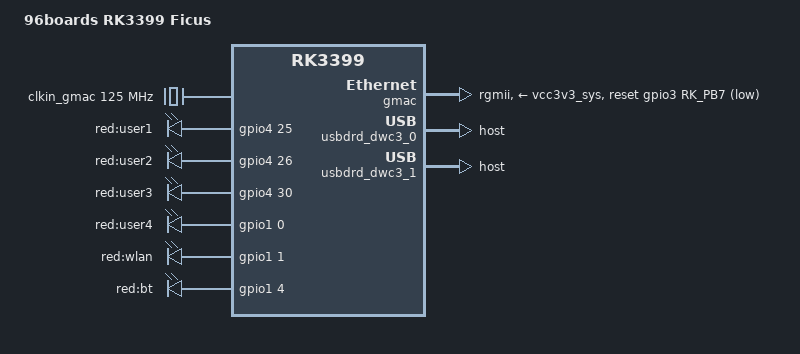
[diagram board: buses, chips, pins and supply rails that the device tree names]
// SPDX-License-Identifier: (GPL-2.0+ OR MIT)
/*
 * Copyright (c) 2018 Collabora Ltd.
 * Copyright (c) 2018 Fuzhou Rockchip Electronics Co., Ltd.
 *
 * Schematics available at https://dl.vamrs.com/products/ficus/docs/hw
 */

/dts-v1/;
#include "rk3399-rock960.dtsi"

/ {
	model = "96boards RK3399 Ficus";
	compatible = "vamrs,ficus", "rockchip,rk3399";

	chosen {
		stdout-path = "serial2:1500000n8";
	};

	clkin_gmac: external-gmac-clock {
		compatible = "fixed-clock";
		clock-frequency = <125000000>;
		clock-output-names = "clkin_gmac";
		#clock-cells = <0>;
	};

	leds {
		compatible = "gpio-leds";
		pinctrl-names = "default";
		pinctrl-0 = <&user_led1>, <&user_led2>, <&user_led3>,
			    <&user_led4>, <&wlan_led>, <&bt_led>;

		user_led1 {
			label = "red:user1";
			gpios = <&gpio4 25 0>;
			linux,default-trigger = "heartbeat";
		};

		user_led2 {
			label = "red:user2";
			gpios = <&gpio4 26 0>;
			linux,default-trigger = "mmc0";
		};

		user_led3 {
			label = "red:user3";
			gpios = <&gpio4 30 0>;
			linux,default-trigger = "mmc1";
		};

		user_led4 {
			label = "red:user4";
			gpios = <&gpio1 0 0>;
			panic-indicator;
			linux,default-trigger = "none";
		};

		wlan_active_led {
			label = "red:wlan";
			gpios = <&gpio1 1 0>;
			linux,default-trigger = "phy0tx";
			default-state = "off";
		};

		bt_active_led {
			label = "red:bt";
			gpios = <&gpio1 4 0>;
			linux,default-trigger = "hci0-power";
			default-state = "off";
		};
	};
};

&gmac {
	assigned-clocks = <&cru SCLK_RMII_SRC>;
	assigned-clock-parents = <&clkin_gmac>;
	clock_in_out = "input";
	phy-supply = <&vcc3v3_sys>;
	phy-mode = "rgmii";
	pinctrl-names = "default";
	pinctrl-0 = <&rgmii_pins>;
	snps,reset-gpio = <&gpio3 RK_PB7 GPIO_ACTIVE_LOW>;
	snps,reset-active-low;
	snps,reset-delays-us = <0 10000 50000>;
	tx_delay = <0x28>;
	rx_delay = <0x11>;
	status = "okay";
};

&pcie0 {
	ep-gpios = <&gpio4 RK_PD4 GPIO_ACTIVE_HIGH>;
};

&pinctrl {
	gmac {
		rgmii_sleep_pins: rgmii-sleep-pins {
			rockchip,pins =
				<3 RK_PB7 RK_FUNC_GPIO &pcfg_output_low>;
		};
	};

	pcie {
		pcie_drv: pcie-drv {
			rockchip,pins =
				<1 RK_PD0 RK_FUNC_GPIO &pcfg_pull_none>;
			};
	};

	usb2 {
		host_vbus_drv: host-vbus-drv {
			rockchip,pins =
				<4 RK_PD3 RK_FUNC_GPIO &pcfg_pull_none>;
		};
	};

	leds {
		user_led1: user_led1 {
			rockchip,pins =
				<4 RK_PD1 RK_FUNC_GPIO &pcfg_pull_none>;
		};

		user_led2: user_led2 {
			rockchip,pins =
				<4 RK_PD2 RK_FUNC_GPIO &pcfg_pull_none>;
		};

		user_led3: user_led3 {
			rockchip,pins =
				<4 RK_PD6 RK_FUNC_GPIO &pcfg_pull_none>;
		};

		user_led4: user_led4 {
			rockchip,pins =
				<1 RK_PA0 RK_FUNC_GPIO &pcfg_pull_none>;
		};

		wlan_led: wlan_led {
			rockchip,pins =
				<1 RK_PA1 RK_FUNC_GPIO &pcfg_pull_none>;
		};

		bt_led: bt_led {
			rockchip,pins =
				<1 RK_PA4 RK_FUNC_GPIO &pcfg_pull_none>;
		};
	};
};

&usbdrd_dwc3_0 {
	dr_mode = "host";
};

&usbdrd_dwc3_1 {
	dr_mode = "host";
};

&vcc3v3_pcie {
	gpio = <&gpio1 24 GPIO_ACTIVE_HIGH>;
};

&vcc5v0_host {
	gpio = <&gpio4 27 GPIO_ACTIVE_HIGH>;
};
